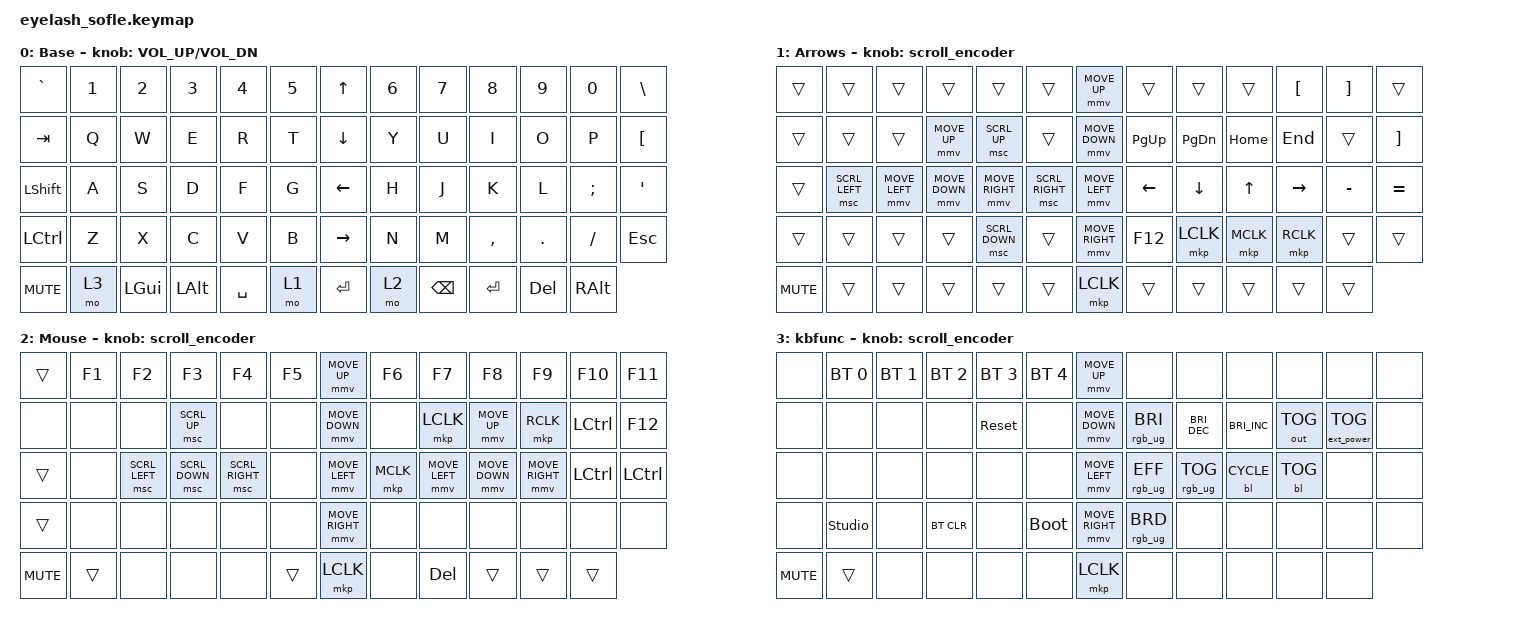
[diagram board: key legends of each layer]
#include <dt-bindings/zmk/mouse.h>
#include <input/processors.dtsi>
#include <behaviors.dtsi>
#include <dt-bindings/zmk/backlight.h>
#include <dt-bindings/zmk/bt.h>
#include <dt-bindings/zmk/ext_power.h>
#include <dt-bindings/zmk/keys.h>
#include <dt-bindings/zmk/outputs.h>
#include <dt-bindings/zmk/pointing.h>
#include <dt-bindings/zmk/rgb.h>

/*

   &mmv_input_listener {
       input-processors = <&zip_xy_scaler 2 1>;
   };

   &msc_input_listener {
       input-processors = <&zip_xy_scaler 2 1>;
   };

 */

#define ZMK_MOUSE_DEFAULT_MOVE_VAL 1200  // 600
#define ZMK_MOUSE_DEFAULT_SCRL_VAL 20    // 10

/ {
    behaviors {
        mmv {
            acceleration-exponent = <1>;      // 1
            time-to-max-speed-ms = <900>;    // 40
            delay-ms = <0>;                   // 0
        };

        msc {
            acceleration-exponent = <1>;      // 0
            time-to-max-speed-ms = <400>;      // 500
            delay-ms = <0>;                   //   10
        };
    };

    scroll_encoder: scroll_encoder {
        compatible = "zmk,behavior-sensor-rotate";
        #sensor-binding-cells = <0>;
        bindings = <&msc SCRL_DOWN>, <&msc SCRL_UP>;

        tap-ms = <30>;
    };

    keymap {
        compatible = "zmk,keymap";

        base {
            bindings = <
&kp GRAVE         &kp N1  &kp N2        &kp N3        &kp N4     &kp N5    &kp UP_ARROW     &kp N6  &kp N7         &kp N8     &kp N9   &kp N0         &kp BACKSLASH
&kp TAB           &kp Q   &kp W         &kp E         &kp R      &kp T     &kp DOWN_ARROW   &kp Y   &kp U          &kp I      &kp O    &kp P          &kp LEFT_BRACKET
&kp LEFT_SHIFT    &kp A   &kp S         &kp D         &kp F      &kp G     &kp LEFT_ARROW   &kp H   &kp J          &kp K      &kp L    &kp SEMI       &kp APOS
&kp LEFT_CONTROL  &kp Z   &kp X         &kp C         &kp V      &kp B     &kp RIGHT_ARROW  &kp N   &kp M          &kp COMMA  &kp DOT  &kp FSLH       &kp ESC
&kp C_MUTE        &mo 3   &kp LEFT_GUI  &kp LEFT_ALT  &kp SPACE  &mo 1     &kp ENTER        &mo 2   &kp BACKSPACE  &kp ENTER  &kp DEL  &kp RIGHT_ALT
            >;

            sensor-bindings = <&inc_dec_kp C_VOLUME_UP C_VOL_DN>;
            display-name = "Base";
        };

        arrows_fn_br_eq_- {
            bindings = <
&trans      &trans          &trans          &trans          &trans           &trans             &mmv MOVE_UP     &trans     &trans         &trans        &kp LEFT_BRACKET  &kp RIGHT_BRACKET  &trans
&trans      &trans          &trans          &mmv MOVE_UP    &msc SCRL_UP     &trans             &mmv MOVE_DOWN   &kp PG_UP  &kp PAGE_DOWN  &kp HOME      &kp END           &trans             &kp RIGHT_BRACKET
&trans      &msc SCRL_LEFT  &mmv MOVE_LEFT  &mmv MOVE_DOWN  &mmv MOVE_RIGHT  &msc SCRL_RIGHT    &mmv MOVE_LEFT   &kp LEFT   &kp DOWN       &kp UP_ARROW  &kp RIGHT         &kp MINUS          &kp EQUAL
&trans      &trans          &trans          &trans          &msc SCRL_DOWN   &trans             &mmv MOVE_RIGHT  &kp F12    &mkp LCLK      &mkp MCLK     &mkp RCLK         &trans             &trans
&kp C_MUTE  &trans          &trans          &trans          &trans           &trans             &mkp LCLK        &trans     &trans         &trans        &trans            &trans
            >;

            display-name = "Arrows";
            sensor-bindings = <&scroll_encoder>;
        };

        Mouse {
            display-name = "Mouse";
            bindings = <
&trans      &kp F1  &kp F2          &kp F3          &kp F4           &kp F5    &mmv MOVE_UP     &kp F6     &kp F7          &kp F8          &kp F9           &kp F10           &kp F11
&none       &none   &none           &msc SCRL_UP    &none            &none     &mmv MOVE_DOWN   &none      &mkp LCLK       &mmv MOVE_UP    &mkp RCLK        &kp LEFT_CONTROL  &kp F12
&trans      &none   &msc SCRL_LEFT  &msc SCRL_DOWN  &msc SCRL_RIGHT  &none     &mmv MOVE_LEFT   &mkp MCLK  &mmv MOVE_LEFT  &mmv MOVE_DOWN  &mmv MOVE_RIGHT  &kp LEFT_CONTROL  &kp LEFT_CONTROL
&trans      &none   &none           &none           &none            &none     &mmv MOVE_RIGHT  &none      &none           &none           &none            &none             &none
&kp C_MUTE  &trans  &none           &none           &none            &trans    &mkp LCLK        &none      &kp DELETE      &trans          &trans           &trans
            >;

            sensor-bindings = <&scroll_encoder>;
        };

        kb-func {
            display-name = "kbfunc";
            bindings = <
&none       &bt BT_SEL 0    &bt BT_SEL 1  &bt BT_SEL 2  &bt BT_SEL 3  &bt BT_SEL 4    &mmv MOVE_UP     &none            &none                 &none                 &none         &none              &none
&none       &none           &none         &none         &sys_reset    &none           &mmv MOVE_DOWN   &rgb_ug RGB_BRI  &kp C_BRIGHTNESS_DEC  &kp C_BRIGHTNESS_INC  &out OUT_TOG  &ext_power EP_TOG  &none
&none       &none           &none         &none         &none         &none           &mmv MOVE_LEFT   &rgb_ug RGB_EFF  &rgb_ug RGB_TOG       &bl BL_CYCLE          &bl BL_TOG    &none              &none
&none       &studio_unlock  &none         &bt BT_CLR    &none         &bootloader     &mmv MOVE_RIGHT  &rgb_ug RGB_BRD  &none                 &none                 &none         &none              &none
&kp C_MUTE  &trans          &none         &none         &none         &none           &mkp LCLK        &none            &none                 &none                 &none         &none
            >;

            sensor-bindings = <&scroll_encoder>;
        };
    };
};
